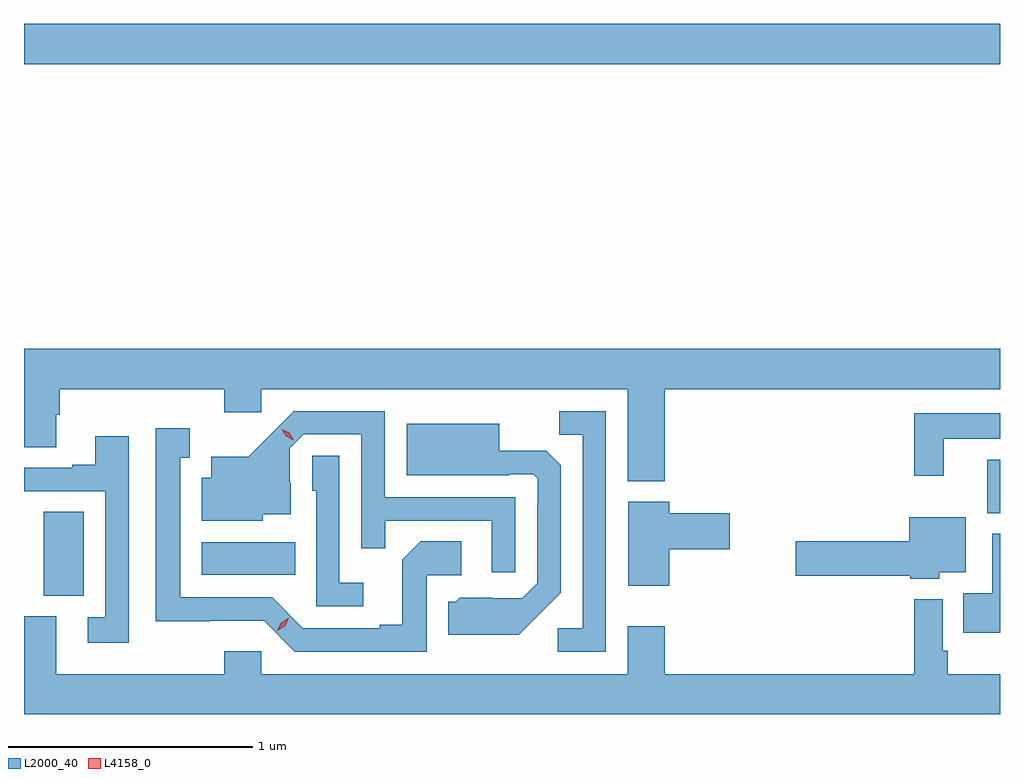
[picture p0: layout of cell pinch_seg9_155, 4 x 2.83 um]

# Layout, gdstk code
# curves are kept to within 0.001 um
import gdstk
lib = gdstk.Library(unit=1e-6, precision=1e-09)
def R(c, l, rs):  # rectangles x0, y0, x1, y1
    for r in rs: c.add(gdstk.rectangle(r[:2], r[2:], *l))
def P(c, l, *ps):  # polygons
    for p in ps: c.add(gdstk.Polygon(p, *l))
L2000_40 = (2000, 40)
L4158_0 = (4158, 0)

pinch_seg9_155 = lib.new_cell('pinch_seg9_155')
R(pinch_seg9_155, L2000_40, [(694.166,1166.269,694.33,1166.612), (694.814,1166.354,695.198,1166.488), (698.033,1166.607,698.086,1166.827), (694.086,1168.448,698.086,1168.612)])
P(pinch_seg9_155, L2000_40, [(696.713,1167.116),(698.086,1167.116),(698.086,1167.28),(694.086,1167.28),(694.086,1166.878),(694.219,1166.878),(694.219,1167.01),(694.232,1167.01),(694.232,1167.116),(694.907,1167.116),(694.907,1167.021),(695.058,1167.021),(695.058,1167.116),(696.56,1167.116),(696.56,1166.738),(696.713,1166.738)],
  [(696.471,1167.024),(696.28,1167.024),(696.28,1166.929),(696.375,1166.929),(696.375,1166.136),(696.273,1166.136),(696.273,1166.04),(696.471,1166.04)],
  [(696.099,1166.673),(695.565,1166.673),(695.565,1167.024),(695.192,1167.024),(695.005,1166.839),(694.853,1166.839),(694.853,1166.752),(694.814,1166.752),(694.814,1166.576),(695.064,1166.576),(695.064,1166.603),(695.179,1166.603),(695.179,1166.732),(695.175,1166.732),(695.175,1166.874),(695.232,1166.931),(695.469,1166.931),(695.469,1166.464),(695.567,1166.464),(695.567,1166.577),(696.003,1166.577),(696.003,1166.364),(696.099,1166.364)],
  [(697.855,1166.912),(698.086,1166.912),(698.086,1167.016),(697.734,1167.016),(697.734,1166.76),(697.855,1166.76)],
  [(696.193,1166.189),(696.285,1166.282),(696.285,1166.804),(696.226,1166.863),(696.034,1166.863),(696.034,1166.974),(695.654,1166.974),(695.654,1166.762),(696.074,1166.762),(696.074,1166.766),(696.174,1166.766),(696.192,1166.748),(696.192,1166.648),(696.189,1166.648),(696.189,1166.319),(696.129,1166.259),(695.872,1166.26),(695.856,1166.244),(695.825,1166.244),(695.825,1166.108),(696.113,1166.108)],
  [(695.736,1166.352),(695.878,1166.352),(695.878,1166.492),(695.713,1166.492),(695.637,1166.416),(695.637,1166.149),(695.543,1166.149),(695.543,1166.136),(695.229,1166.136),(695.103,1166.262),(694.726,1166.262),(694.726,1166.835),(694.765,1166.835),(694.765,1166.956),(694.625,1166.956),(694.625,1166.165),(695.07,1166.166),(695.196,1166.04),(695.736,1166.04)],
  [(694.515,1166.923),(694.379,1166.923),(694.379,1166.806),(694.283,1166.806),(694.283,1166.793),(694.086,1166.793),(694.086,1166.697),(694.419,1166.697),(694.419,1166.181),(694.347,1166.181),(694.347,1166.076),(694.515,1166.076)],
  [(695.476,1166.323),(695.379,1166.323),(695.379,1166.843),(695.268,1166.843),(695.268,1166.7),(695.283,1166.7),(695.283,1166.226),(695.476,1166.226)],
  [(696.73,1166.459),(696.979,1166.459),(696.979,1166.606),(696.73,1166.606),(696.73,1166.653),(696.563,1166.653),(696.563,1166.31),(696.73,1166.31)],
  [(697.836,1166.366),(697.945,1166.366),(697.945,1166.59),(697.715,1166.59),(697.715,1166.492),(697.248,1166.492),(697.248,1166.35),(697.719,1166.35),(697.719,1166.339),(697.836,1166.339)],
  [(698.086,1166.522),(698.054,1166.522),(698.054,1166.278),(697.936,1166.278),(697.936,1166.117),(698.086,1166.117)],
  [(698.086,1165.948),(697.871,1165.948),(697.871,1166.044),(697.851,1166.044),(697.851,1166.254),(697.735,1166.254),(697.735,1165.948),(696.713,1165.948),(696.713,1166.143),(696.56,1166.143),(696.56,1165.948),(695.058,1165.948),(695.058,1166.041),(694.907,1166.041),(694.907,1165.948),(694.219,1165.948),(694.219,1166.184),(694.086,1166.184),(694.086,1165.784),(698.086,1165.784)])
P(pinch_seg9_155, L4158_0, [(695.191,1166.907),(695.16,1166.922),(695.143,1166.952),(695.143,1166.952),(695.143,1166.952),(695.174,1166.937),(695.191,1166.907),(695.191,1166.907)],
  [(695.124,1166.126),(695.124,1166.127),(695.141,1166.159),(695.172,1166.179),(695.172,1166.179),(695.172,1166.179),(695.156,1166.146),(695.124,1166.126)])

lib.write_gds('pinch_seg9_155.gds')
